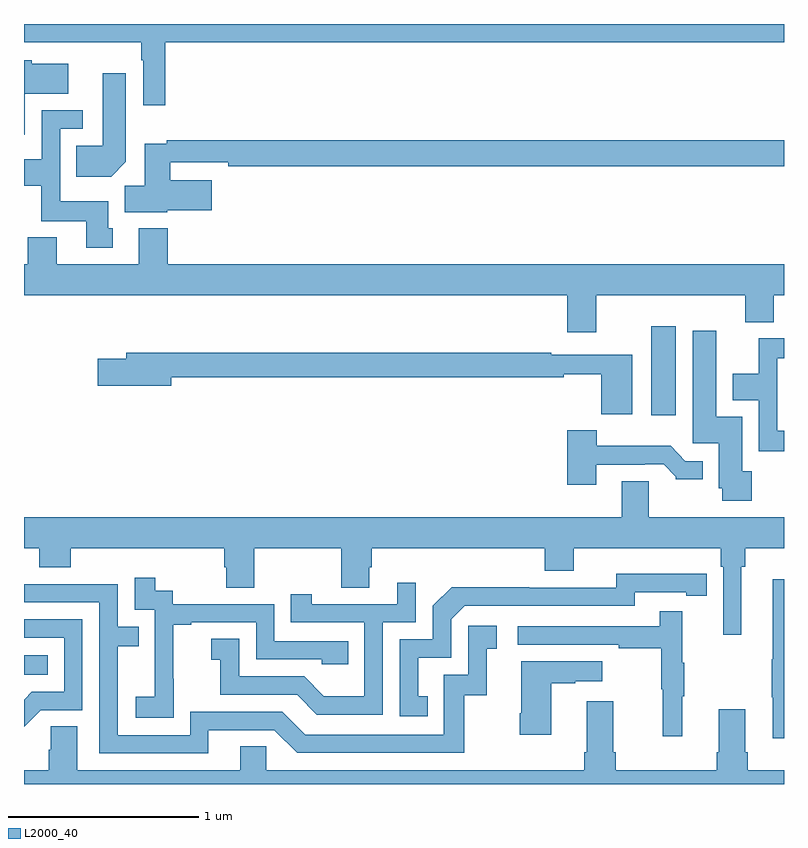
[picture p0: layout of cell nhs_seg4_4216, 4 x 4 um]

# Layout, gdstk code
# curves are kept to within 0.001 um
import gdstk
lib = gdstk.Library(unit=1e-6, precision=1e-09)
def R(c, l, rs):  # rectangles x0, y0, x1, y1
    for r in rs: c.add(gdstk.rectangle(r[:2], r[2:], *l))
def P(c, l, *ps):  # polygons
    for p in ps: c.add(gdstk.Polygon(p, *l))
L2000_40 = (2000, 40)

nhs_seg4_4216 = lib.new_cell('nhs_seg4_4216')
R(nhs_seg4_4216, L2000_40, [(335,809.474,335.126,809.578), (338.3,810.84,338.431,811.309)])
P(nhs_seg4_4216, L2000_40, [(335.744,812.804),(339,812.804),(339,812.9),(335,812.9),(335,812.804),(335.616,812.804),(335.616,812.708),(335.628,812.708),(335.628,812.472),(335.744,812.472)],
  [(335.004,812.534),(335.233,812.534),(335.233,812.692),(335.04,812.692),(335.04,812.71),(335,812.71),(335,812.318),(335.004,812.318)],
  [(335.536,812.174),(335.536,812.641),(335.414,812.641),(335.414,812.26),(335.275,812.26),(335.275,812.096),(335.458,812.096)],
  [(335.467,811.824),(335.443,811.824),(335.443,811.966),(335.19,811.966),(335.19,812.349),(335.308,812.349),(335.308,812.445),(335.094,812.445),(335.094,812.188),(335,812.188),(335,812.048),(335.092,812.048),(335.092,811.862),(335.327,811.862),(335.327,811.722),(335.467,811.722)],
  [(335.754,811.919),(335.989,811.919),(335.989,812.077),(335.771,812.077),(335.771,812.172),(336.076,812.172),(336.076,812.152),(339,812.152),(339,812.288),(335.752,812.288),(335.752,812.27),(335.636,812.27),(335.636,812.048),(335.531,812.048),(335.531,811.91),(335.754,811.91)],
  [(338.011,811.472),(338.795,811.472),(338.795,811.331),(338.947,811.331),(338.947,811.472),(339,811.472),(339,811.636),(335.756,811.636),(335.756,811.825),(335.603,811.825),(335.603,811.636),(335.173,811.636),(335.173,811.777),(335.021,811.777),(335.021,811.636),(335,811.636),(335,811.472),(337.859,811.472),(337.859,811.278),(338.011,811.278)],
  [(338.831,810.546),(338.779,810.546),(338.779,810.832),(338.644,810.832),(338.644,811.285),(338.519,811.285),(338.519,810.693),(338.657,810.693),(338.657,810.456),(338.674,810.456),(338.674,810.39),(338.831,810.39)],
  [(339,810.759),(338.964,810.759),(338.964,811.142),(339,811.142),(339,811.246),(338.866,811.246),(338.866,811.06),(338.729,811.06),(338.729,810.92),(338.868,810.92),(338.868,810.651),(339,810.651)],
  [(338.2,811.158),(337.775,811.158),(337.775,811.171),(335.537,811.171),(335.537,811.137),(335.388,811.137),(335.388,810.995),(335.776,810.995),(335.776,811.042),(337.84,811.042),(337.84,811.057),(338.038,811.057),(338.038,810.845),(338.2,810.845)],
  [(338.011,810.579),(338.267,810.579),(338.267,810.582),(338.366,810.582),(338.43,810.518),(338.43,810.503),(338.572,810.503),(338.572,810.6),(338.481,810.6),(338.403,810.679),(338.014,810.679),(338.014,810.763),(337.859,810.763),(337.859,810.474),(338.011,810.474)],
  [(335,810.14),(335.081,810.14),(335.081,810.041),(335.246,810.041),(335.246,810.14),(336.053,810.14),(336.053,810.042),(336.065,810.042),(336.065,809.932),(336.213,809.932),(336.213,810.14),(336.67,810.14),(336.67,809.932),(336.817,809.932),(336.817,810.042),(336.83,810.042),(336.83,810.14),(337.742,810.14),(337.742,810.023),(337.894,810.023),(337.894,810.14),(338.666,810.14),(338.666,810.044),(338.679,810.044),(338.679,809.685),(338.776,809.685),(338.776,810.044),(338.795,810.044),(338.795,810.14),(339,810.14),(339,810.304),(338.287,810.304),(338.287,810.494),(338.147,810.494),(338.147,810.304),(335,810.304)],
  [(337.124,809.361),(337.075,809.361),(337.075,809.565),(337.248,809.565),(337.248,809.766),(337.32,809.838),(338.214,809.838),(338.214,809.91),(338.486,809.91),(338.486,809.89),(338.594,809.89),(338.594,810.006),(338.118,810.007),(338.118,809.934),(337.658,809.934),(337.658,809.936),(337.25,809.936),(337.152,809.838),(337.152,809.661),(336.978,809.661),(336.978,809.256),(337.124,809.256)],
  [(335.787,809.455),(335.786,809.455),(335.786,809.739),(335.881,809.739),(335.881,809.751),(336.222,809.751),(336.222,809.556),(336.567,809.556),(336.567,809.529),(336.707,809.529),(336.707,809.652),(336.318,809.652),(336.318,809.847),(335.784,809.847),(335.784,809.916),(335.692,809.916),(335.692,809.986),(335.583,809.986),(335.583,809.817),(335.688,809.817),(335.688,809.588),(335.687,809.588),(335.687,809.359),(335.589,809.359),(335.589,809.249),(335.787,809.249)],
  [(339,809.977),(338.942,809.977),(338.942,809.557),(338.935,809.557),(338.935,809.357),(338.942,809.357),(338.942,809.142),(339,809.142)],
  [(336.888,809.751),(337.062,809.751),(337.062,809.959),(336.965,809.959),(336.965,809.847),(336.514,809.847),(336.514,809.899),(336.403,809.899),(336.403,809.751),(336.792,809.751),(336.792,809.362),(336.578,809.362),(336.474,809.466),(336.132,809.466),(336.132,809.665),(335.985,809.665),(335.985,809.555),(336.034,809.555),(336.034,809.37),(336.437,809.37),(336.542,809.265),(336.888,809.265)],
  [(335.971,809.184),(336.318,809.184),(336.438,809.064),(337.318,809.064),(337.318,809.367),(337.436,809.367),(337.436,809.613),(337.489,809.613),(337.489,809.734),(337.338,809.734),(337.338,809.475),(337.209,809.475),(337.209,809.16),(336.48,809.16),(336.36,809.28),(335.874,809.28),(335.874,809.157),(335.493,809.157),(335.493,809.626),(335.603,809.626),(335.603,809.727),(335.493,809.727),(335.493,809.952),(335,809.952),(335,809.856),(335.397,809.856),(335.397,809.061),(335.971,809.061)],
  [(338.465,809.363),(338.476,809.363),(338.476,809.537),(338.465,809.537),(338.465,809.809),(338.347,809.809),(338.347,809.73),(337.599,809.73),(337.599,809.634),(338.131,809.634),(338.131,809.614),(338.355,809.614),(338.355,809.4),(338.362,809.4),(338.362,809.151),(338.465,809.151)],
  [(335.088,809.289),(335.307,809.289),(335.307,809.766),(335,809.766),(335,809.67),(335.211,809.67),(335.211,809.385),(335.042,809.385),(335,809.343),(335,809.202)],
  [(337.774,809.431),(337.901,809.431),(337.901,809.441),(338.044,809.441),(338.044,809.545),(337.616,809.545),(337.616,809.272),(337.609,809.272),(337.609,809.16),(337.774,809.16)],
  [(339,808.972),(338.81,808.972),(338.81,809.068),(338.797,809.068),(338.797,809.293),(338.657,809.293),(338.657,809.068),(338.645,809.068),(338.645,808.972),(338.114,808.972),(338.114,809.068),(338.101,809.068),(338.101,809.335),(337.961,809.335),(337.961,809.068),(337.949,809.068),(337.949,808.972),(336.276,808.972),(336.276,809.099),(336.137,809.099),(336.137,808.972),(335.281,808.972),(335.281,809.204),(335.142,809.204),(335.142,809.081),(335.129,809.081),(335.129,808.972),(335,808.972),(335,808.9),(339,808.9)])

lib.write_gds('nhs_seg4_4216.gds')
